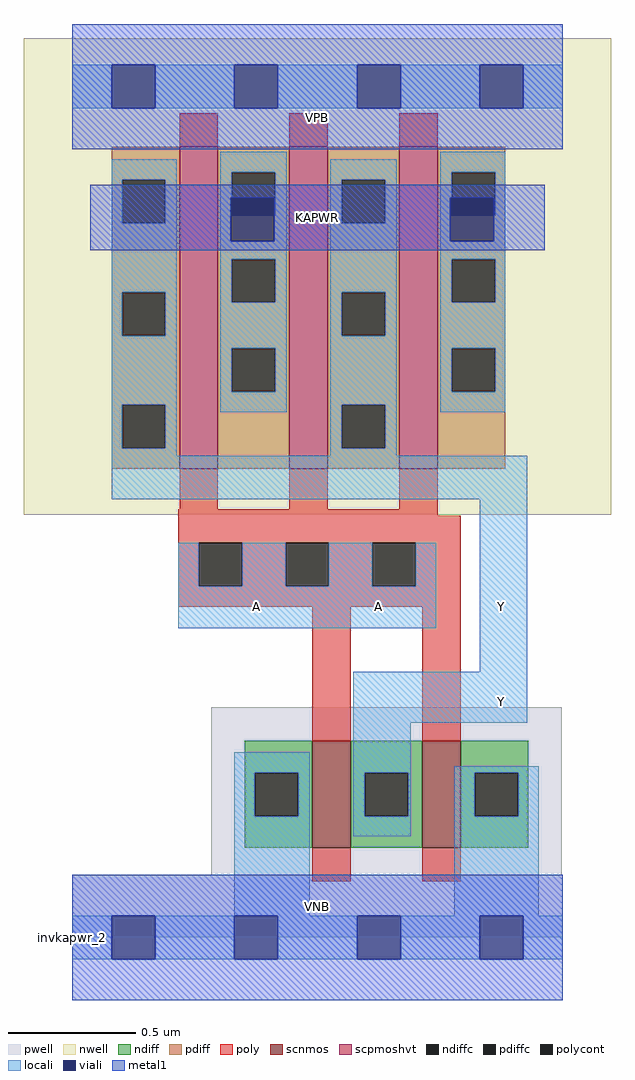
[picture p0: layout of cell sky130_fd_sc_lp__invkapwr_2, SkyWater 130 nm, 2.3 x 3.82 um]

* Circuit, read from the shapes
.subckt sky130_fd_sc_lp__invkapwr_2 A KAPWR VGND VNB VPB VPWR Y
XM1 Y A VGND VNB sky130_fd_pr__nfet_01v8 w=0.42 l=0.15 m=2
XM2 KAPWR A Y VPB sky130_fd_pr__pfet_01v8_hvt w=1.26 l=0.15 m=3
.ends

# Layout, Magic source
magic
tech sky130A
magscale 1 2
<< nwell >>
rect -38 331 422 704
<< pwell >>
rect 109 49 383 180
rect 0 0 384 49
<< scnmos >>
rect 188 70 218 154
rect 274 70 304 154
<< scpmoshvt >>
rect 84 367 114 619
rect 170 367 200 619
rect 256 367 286 619
<< ndiff >>
rect 135 129 188 154
rect 135 95 143 129
rect 177 95 188 129
rect 135 70 188 95
rect 218 129 274 154
rect 218 95 229 129
rect 263 95 274 129
rect 218 70 274 95
rect 304 129 357 154
rect 304 95 315 129
rect 349 95 357 129
rect 304 70 357 95
<< pdiff >>
rect 31 593 84 619
rect 31 559 39 593
rect 73 559 84 593
rect 31 505 84 559
rect 31 471 39 505
rect 73 471 84 505
rect 31 417 84 471
rect 31 383 39 417
rect 73 383 84 417
rect 31 367 84 383
rect 114 599 170 619
rect 114 565 125 599
rect 159 565 170 599
rect 114 531 170 565
rect 114 497 125 531
rect 159 497 170 531
rect 114 461 170 497
rect 114 427 125 461
rect 159 427 170 461
rect 114 367 170 427
rect 200 593 256 619
rect 200 559 211 593
rect 245 559 256 593
rect 200 505 256 559
rect 200 471 211 505
rect 245 471 256 505
rect 200 417 256 471
rect 200 383 211 417
rect 245 383 256 417
rect 200 367 256 383
rect 286 599 339 619
rect 286 565 297 599
rect 331 565 339 599
rect 286 531 339 565
rect 286 497 297 531
rect 331 497 339 531
rect 286 461 339 497
rect 286 427 297 461
rect 331 427 339 461
rect 286 367 339 427
<< ndiffc >>
rect 143 95 177 129
rect 229 95 263 129
rect 315 95 349 129
<< pdiffc >>
rect 39 559 73 593
rect 39 471 73 505
rect 39 383 73 417
rect 125 565 159 599
rect 125 497 159 531
rect 125 427 159 461
rect 211 559 245 593
rect 211 471 245 505
rect 211 383 245 417
rect 297 565 331 599
rect 297 497 331 531
rect 297 427 331 461
<< poly >>
rect 84 619 114 645
rect 170 619 200 645
rect 256 619 286 645
rect 84 335 114 367
rect 170 335 200 367
rect 256 335 286 367
rect 83 330 286 335
rect 83 309 304 330
rect 83 275 99 309
rect 133 275 167 309
rect 201 275 235 309
rect 269 275 304 309
rect 83 259 304 275
rect 188 154 218 259
rect 274 154 304 259
rect 188 44 218 70
rect 274 44 304 70
<< polycont >>
rect 99 275 133 309
rect 167 275 201 309
rect 235 275 269 309
<< locali >>
rect 0 649 31 683
rect 65 649 127 683
rect 161 649 223 683
rect 257 649 319 683
rect 353 649 384 683
rect 31 593 82 609
rect 31 559 39 593
rect 73 559 82 593
rect 31 505 82 559
rect 31 471 39 505
rect 73 471 82 505
rect 31 417 82 471
rect 31 383 39 417
rect 73 383 82 417
rect 116 599 168 615
rect 116 579 125 599
rect 116 545 124 579
rect 159 565 168 599
rect 158 545 168 565
rect 116 531 168 545
rect 116 497 125 531
rect 159 497 168 531
rect 116 461 168 497
rect 116 427 125 461
rect 159 427 168 461
rect 116 411 168 427
rect 202 593 254 609
rect 202 559 211 593
rect 245 559 254 593
rect 202 505 254 559
rect 202 471 211 505
rect 245 471 254 505
rect 202 417 254 471
rect 31 377 82 383
rect 202 383 211 417
rect 245 383 254 417
rect 288 599 339 615
rect 288 579 297 599
rect 288 545 296 579
rect 331 565 339 599
rect 330 545 339 565
rect 288 531 339 545
rect 288 497 297 531
rect 331 497 339 531
rect 288 461 339 497
rect 288 427 297 461
rect 331 427 339 461
rect 288 411 339 427
rect 202 377 254 383
rect 31 343 356 377
rect 83 275 99 309
rect 133 275 167 309
rect 201 275 235 309
rect 269 275 285 309
rect 83 242 285 275
rect 319 208 356 343
rect 220 168 356 208
rect 127 129 186 145
rect 127 95 143 129
rect 177 95 186 129
rect 127 17 186 95
rect 220 129 265 168
rect 220 95 229 129
rect 263 95 265 129
rect 220 79 265 95
rect 299 129 365 134
rect 299 95 315 129
rect 349 95 365 129
rect 299 17 365 95
rect 0 -17 31 17
rect 65 -17 127 17
rect 161 -17 223 17
rect 257 -17 319 17
rect 353 -17 384 17
<< viali >>
rect 31 649 65 683
rect 127 649 161 683
rect 223 649 257 683
rect 319 649 353 683
rect 124 565 125 579
rect 125 565 158 579
rect 124 545 158 565
rect 296 565 297 579
rect 297 565 330 579
rect 296 545 330 565
rect 31 -17 65 17
rect 127 -17 161 17
rect 223 -17 257 17
rect 319 -17 353 17
<< metal1 >>
rect 0 683 384 715
rect 0 649 31 683
rect 65 649 127 683
rect 161 649 223 683
rect 257 649 319 683
rect 353 649 384 683
rect 0 617 384 649
rect 14 579 370 589
rect 14 545 124 579
rect 158 545 296 579
rect 330 545 370 579
rect 14 538 370 545
rect 0 17 384 49
rect 0 -17 31 17
rect 65 -17 127 17
rect 161 -17 223 17
rect 257 -17 319 17
rect 353 -17 384 17
rect 0 -49 384 -17
<< labels >>
flabel pwell s 0 0 384 49 0 FreeSans 200 0 0 0 VNB
port 4 nsew ground bidirectional
flabel nwell s 0 617 384 666 0 FreeSans 200 0 0 0 VPB
port 5 nsew power bidirectional
rlabel comment s 0 0 0 0 4 invkapwr_2
flabel metal1 s 0 617 384 666 0 FreeSans 340 0 0 0 VPWR
port 6 nsew power bidirectional
flabel metal1 s 0 0 384 49 0 FreeSans 340 0 0 0 VGND
port 3 nsew ground bidirectional
flabel metal1 s 14 538 370 589 0 FreeSans 200 0 0 0 KAPWR
port 2 nsew power bidirectional
flabel locali s 127 242 161 276 0 FreeSans 340 0 0 0 A
port 1 nsew signal input
flabel locali s 223 242 257 276 0 FreeSans 340 0 0 0 A
port 1 nsew signal input
flabel locali s 319 168 353 202 0 FreeSans 340 0 0 0 Y
port 7 nsew signal output
flabel locali s 319 242 353 276 0 FreeSans 340 0 0 0 Y
port 7 nsew signal output
<< properties >>
string LEFsite unit
string LEFclass CORE
string FIXED_BBOX 0 0 384 666
string GDS_FILE $PDKPATH/libs.ref/sky130_fd_sc_lp/gds/sky130_fd_sc_lp.gds
string LEFsymmetry X Y
string GDS_END 3783118
string GDS_START 3778580
<< end >>
